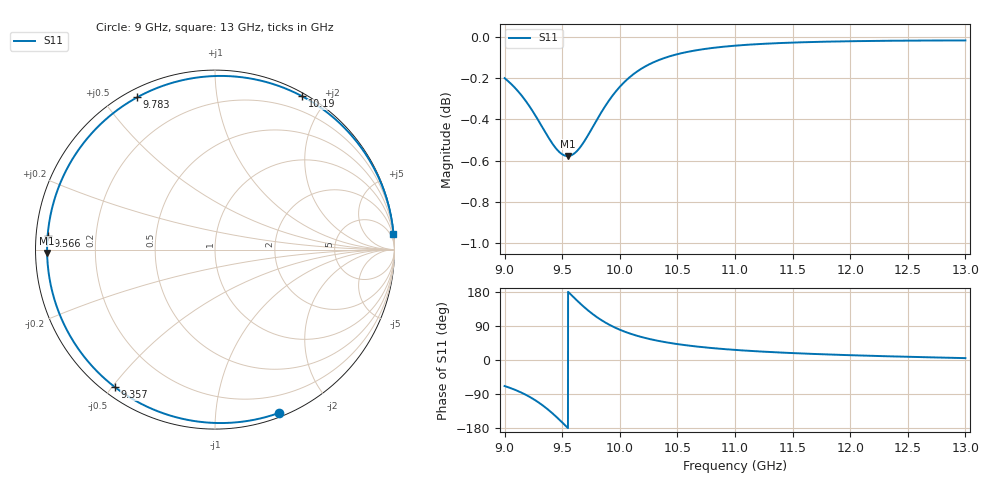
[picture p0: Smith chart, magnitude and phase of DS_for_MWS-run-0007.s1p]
! TOUCHSTONE file generated by CST DESIGN STUDIO
! Date and time: Wed Feb  5 13:31:19 2025
! Project name: C:\Work\MatlabApps\UnitCellOptimizationMatlab\CST\unitcell.cst
! Tree item: Tasks\Sweep1\SPara1\S-Parameters
! Header version: 2024
! Port assignment regex: !\s*Touchstone port\s*([0-9]+)\s*=\s*(CST MWS port|CST DES external port|CST DES block port)\s*(.+)\s* \(\"(.*)\"\)(\s*mode\s*([0-9]+))?.*
! Touchstone port assignment:
! Touchstone port 1 = CST DES external port 1 ("")
# GHz S MA R 50
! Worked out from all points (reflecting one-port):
!   4001 points, 9 GHz to 13 GHz, reference 50 ohm
!   lowest |S11| = -0.6 dB at 9.547 GHz (marker M1), VSWR 30.07, Z = 1.66 - j0.515 ohm
!   phase of S11 starts at -69 deg and turns -286 deg over the sweep
!   S11 on the Smith chart (normalised r, x): 9 GHz: 0.04, -1.46; 9.357 GHz: 0.03, -0.51; 9.566 GHz: 0.03, +0.04; 9.783 GHz: 0.03, +0.61; 10.19 GHz: 0.03, +1.72; 13 GHz: 0, +23
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9  0.9773 -68.7
9.102  0.9712 -80.2
9.212  0.9624 -96.4
9.288  0.955 -110.6
9.357  0.9478 -125.9
9.426  0.9412 -143.6
9.465  0.9383 -154.5
9.5  0.9366 -164.7
9.547  0.9356 -178.8
9.566  0.9358 175.5
9.62  0.9378 159.4
9.681  0.9424 142.2
9.732  0.9474 129.0
9.783  0.9529 117.0
9.83  0.9578 107.2
9.88  0.9628 97.9
9.936  0.9677 88.8
10  0.9726 79.9
10.092  0.9782 69.4
10.192  0.9827 60.3
10.333  0.9871 50.5
10.5  0.9905 42.0
10.721  0.9933 33.8
11  0.9952 26.6
11.5  0.997 18.2
12  0.9977 12.7
12.5  0.9981 8.5
13  0.9982 4.9
